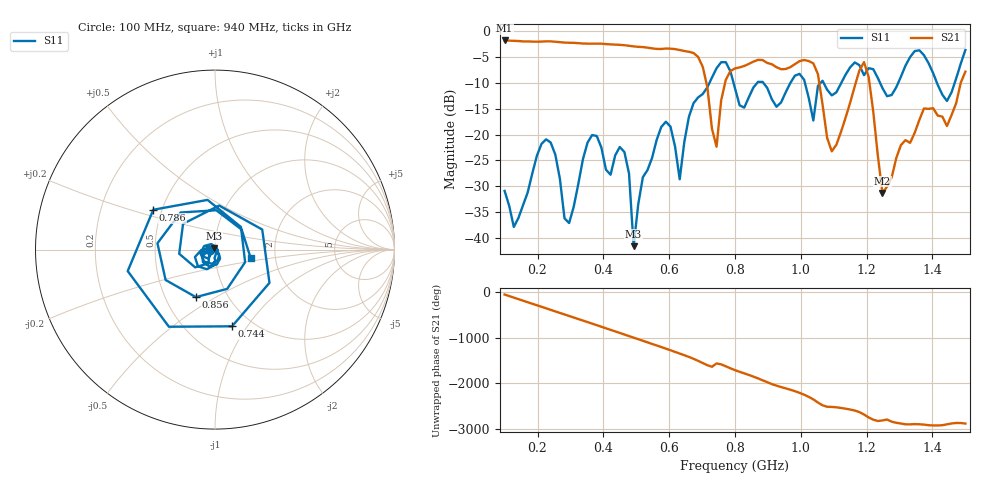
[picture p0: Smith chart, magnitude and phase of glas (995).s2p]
! NanoVNA-App
! Date: 2025-09-25 16:03:13
! Start: 100MHz Stop: 1,5GHz Points: 101
! S-Parameter data: F S11 S21 S12 S22
# Hz S RI R 50
!  Frequency  S11_Real  S11_Imag  S21_Real  S21_Imag  S12_Real  S12_Imag  S22_Real  S22_Imag
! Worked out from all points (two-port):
!   101 points, 100 MHz to 1.5 GHz, reference 50 ohm
!   highest |S21| = -1.80 dB at 100 MHz (marker M1); lowest = -31.3 dB at 1.248 GHz (marker M2)
!   |S21| within 3 dB of the highest: start of sweep to 684.5 MHz
!   lowest |S11| = -41.6 dB at 492 MHz (marker M3), VSWR 1.02, Z = 49.5 + j0.642 ohm
!   |S11| at or under -10 dB: start of sweep to 722.5 MHz; 795.5 MHz to 867.6 MHz (72.06 MHz wide, 8.67 % of centre); 886.1 MHz to 968.5 MHz (82.39 MHz wide, 8.89 % of centre) (the widest 3 of 7)
!   S12 and S22 are empty: the file has one direction only
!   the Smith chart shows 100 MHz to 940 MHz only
!   S11 on the Smith chart (normalised r, x): 100 MHz: 0.94, -0.01; 744 MHz: 0.81, -0.85; 786 MHz: 0.45, +0.24; 856 MHz: 0.71, -0.41; 940 MHz: 1.49, -0.15
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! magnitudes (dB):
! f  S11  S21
! 100 MHz  -30.9  -1.8
! 128 MHz  -37.9  -1.9
! 226 MHz  -20.9  -2.0
! 296 MHz  -37.1  -2.2
! 338 MHz  -24.8  -2.4
! 464 MHz  -23.4  -2.7
! 492 MHz  -41.6  -3.0
! 576 MHz  -18.5  -3.5
! 632 MHz  -28.7  -3.7
! 702 MHz  -12.2  -6.9
! 744 MHz  -7.2  -22.4
! 786 MHz  -7.8  -7.7
! 800 MHz  -11.1  -7.2
! 856 MHz  -10.9  -5.9
! 940 MHz  -13.8  -7.4
! 1.038 GHz  -17.3  -6.2
! 1.094 GHz  -12.4  -23.3
! 1.192 GHz  -8.5  -6.0
! 1.248 GHz  -11.0  -31.3
! 1.276 GHz  -12.4  -28.3
! 1.444 GHz  -13.5  -18.4
! 1.5 GHz  -3.6  -7.8
